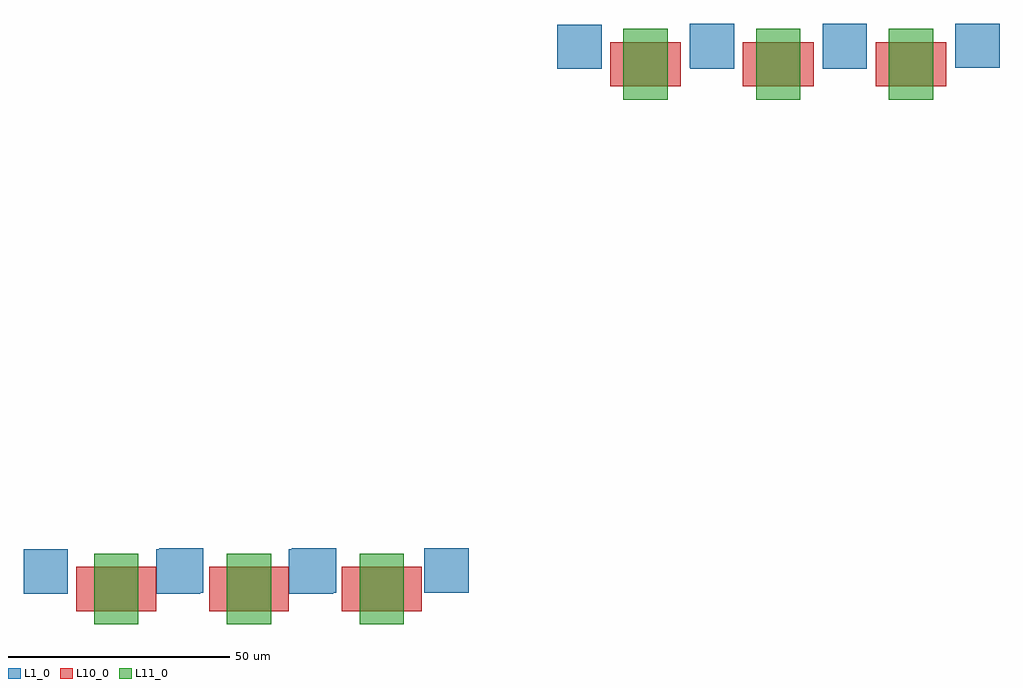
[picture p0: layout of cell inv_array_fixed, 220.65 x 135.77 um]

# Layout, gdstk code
import gdstk
lib = gdstk.Library(unit=1e-6, precision=1e-09)
def R(c, l, rs):  # rectangles x0, y0, x1, y1
    for r in rs: c.add(gdstk.rectangle(r[:2], r[2:], *l))
L1_0 = (1, 0)
L10_0 = (10, 0)
L11_0 = (11, 0)

inv_base_pmos = lib.new_cell('inv_base_pmos')
R(inv_base_pmos, L1_0, [(34.346,51.923,44.346,61.923), (65,52.121,75,62.121)])
R(inv_base_pmos, L10_0, [(46.327,47.978,64.327,57.978)])
R(inv_base_pmos, L11_0, [(50.327,44.978,60.327,60.978)])

inv_base_nmos = lib.new_cell('inv_base_nmos')
R(inv_base_nmos, L1_0, [(155.043,171.923,165.043,181.923), (185,172.121,195,182.121)])
R(inv_base_nmos, L10_0, [(166.979,167.978,182.979,177.978)])
R(inv_base_nmos, L11_0, [(169.979,164.978,179.979,180.978)])

inv_base = lib.new_cell('inv_base')
inv_base.add(gdstk.Reference(inv_base_pmos, (350,350.686)))
inv_base.add(gdstk.Reference(inv_base_nmos, (350,349.314)))

inv_array_fixed = lib.new_cell('inv_array_fixed')
inv_array_fixed.add(gdstk.Reference(inv_base, (245,275)))
inv_array_fixed.add(gdstk.Reference(inv_base, (275,275)))
inv_array_fixed.add(gdstk.Reference(inv_base, (305,275)))

lib.write_gds('inv_array_fixed.gds')
